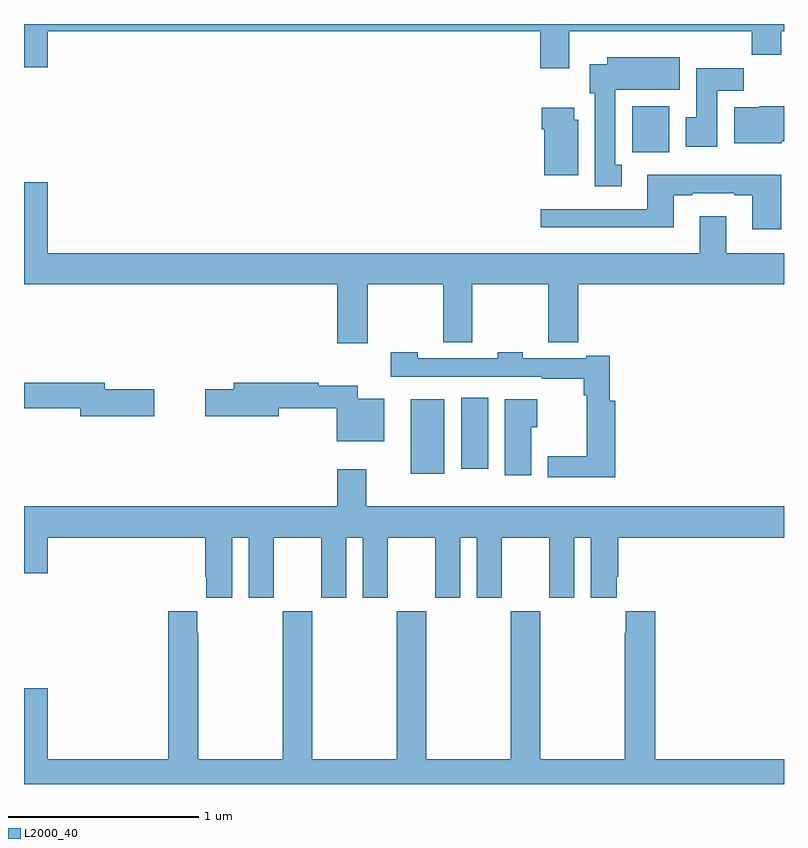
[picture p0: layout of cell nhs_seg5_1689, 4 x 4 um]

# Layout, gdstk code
import gdstk
lib = gdstk.Library(unit=1e-6, precision=1e-09)
def R(c, l, rs):  # rectangles x0, y0, x1, y1
    for r in rs: c.add(gdstk.rectangle(r[:2], r[2:], *l))
def P(c, l, *ps):  # polygons
    for p in ps: c.add(gdstk.Polygon(p, *l))
L2000_40 = (2000, 40)

nhs_seg5_1689 = lib.new_cell('nhs_seg5_1689')
R(nhs_seg5_1689, L2000_40, [(215.036,854.432,215.212,854.824), (215.3,854.457,215.443,854.833), (216.2,856.124,216.397,856.366)])
P(nhs_seg5_1689, L2000_40, [(215.869,856.76),(216.829,856.76),(216.829,856.636),(216.986,856.636),(216.986,856.76),(217,856.76),(217,856.799),(213,856.799),(213,856.572),(213.124,856.572),(213.124,856.76),(215.717,856.76),(215.717,856.566),(215.869,856.566)],
  [(216.145,856.058),(216.112,856.058),(216.112,856.454),(216.451,856.454),(216.451,856.624),(216.071,856.624),(216.071,856.588),(215.978,856.588),(215.978,856.434),(216.005,856.434),(216.005,855.945),(216.145,855.945)],
  [(216.649,856.448),(216.788,856.448),(216.788,856.566),(216.539,856.566),(216.539,856.308),(216.482,856.308),(216.482,856.152),(216.649,856.152)],
  [(216.988,856.183),(217,856.183),(217,856.366),(216.87,856.366),(216.87,856.36),(216.737,856.36),(216.737,856.172),(216.988,856.172)],
  [(215.917,856.296),(215.896,856.296),(215.896,856.357),(215.726,856.357),(215.726,856.244),(215.738,856.244),(215.738,856.004),(215.917,856.004)],
  [(216.986,856.006),(216.281,856.006),(216.281,855.825),(215.721,855.825),(215.721,855.728),(216.421,855.728),(216.421,855.897),(216.517,855.897),(216.517,855.909),(216.737,855.909),(216.737,855.897),(216.833,855.897),(216.833,855.72),(216.986,855.72)],
  [(214.809,855.428),(215.206,855.428),(215.206,855.124),(215.36,855.124),(215.36,855.428),(215.758,855.428),(215.758,855.124),(215.918,855.124),(215.918,855.428),(217,855.428),(217,855.592),(216.697,855.592),(216.697,855.787),(216.557,855.787),(216.557,855.592),(213.124,855.592),(213.124,855.967),(213,855.967),(213,855.428),(214.649,855.428),(214.649,855.12),(214.809,855.12)],
  [(216.113,854.815),(216.083,854.815),(216.083,855.052),(215.96,855.052),(215.96,855.039),(215.625,855.039),(215.625,855.072),(215.493,855.072),(215.493,855.039),(215.073,855.039),(215.073,855.072),(214.929,855.072),(214.929,854.943),(215.725,854.943),(215.725,854.931),(215.947,854.931),(215.947,854.846),(215.962,854.846),(215.962,854.524),(215.757,854.524),(215.757,854.414),(216.113,854.414)],
  [(214.897,854.827),(214.756,854.827),(214.756,854.895),(214.55,854.895),(214.55,854.912),(214.103,854.912),(214.103,854.876),(213.954,854.876),(213.954,854.734),(214.342,854.734),(214.342,854.776),(214.646,854.776),(214.646,854.603),(214.897,854.603)],
  [(213.685,854.876),(213.424,854.876),(213.424,854.912),(213,854.912),(213,854.776),(213.296,854.776),(213.296,854.734),(213.685,854.734)],
  [(215.671,854.677),(215.701,854.677),(215.701,854.824),(215.531,854.824),(215.531,854.424),(215.671,854.424)],
  [(214.096,854.096),(214.184,854.096),(214.184,853.779),(214.315,853.779),(214.315,854.096),(214.565,854.096),(214.565,853.779),(214.696,853.779),(214.696,854.096),(214.784,854.096),(214.784,853.779),(214.915,853.779),(214.915,854.096),(215.165,854.096),(215.165,853.779),(215.296,853.779),(215.296,854.096),(215.384,854.096),(215.384,853.779),(215.515,853.779),(215.515,854.096),(215.765,854.096),(215.765,853.779),(215.896,853.779),(215.896,854.096),(215.984,854.096),(215.984,853.779),(216.121,853.779),(216.121,853.891),(216.128,853.891),(216.128,854.096),(217,854.096),(217,854.26),(214.801,854.26),(214.801,854.455),(214.649,854.455),(214.649,854.26),(213,854.26),(213,853.908),(213.124,853.908),(213.124,854.096),(213.953,854.096),(213.953,853.891),(213.959,853.891),(213.959,853.779),(214.096,853.779)],
  [(217,852.928),(216.323,852.928),(216.323,853.708),(216.167,853.708),(216.167,853.595),(216.163,853.595),(216.163,852.928),(215.718,852.928),(215.718,853.708),(215.563,853.708),(215.563,852.928),(215.118,852.928),(215.118,853.708),(214.963,853.708),(214.963,852.928),(214.518,852.928),(214.518,853.708),(214.363,853.708),(214.363,852.928),(213.918,852.928),(213.918,853.595),(213.913,853.595),(213.913,853.708),(213.758,853.708),(213.758,852.928),(213.124,852.928),(213.124,853.303),(213,853.303),(213,852.799),(217,852.799)])

lib.write_gds('nhs_seg5_1689.gds')
